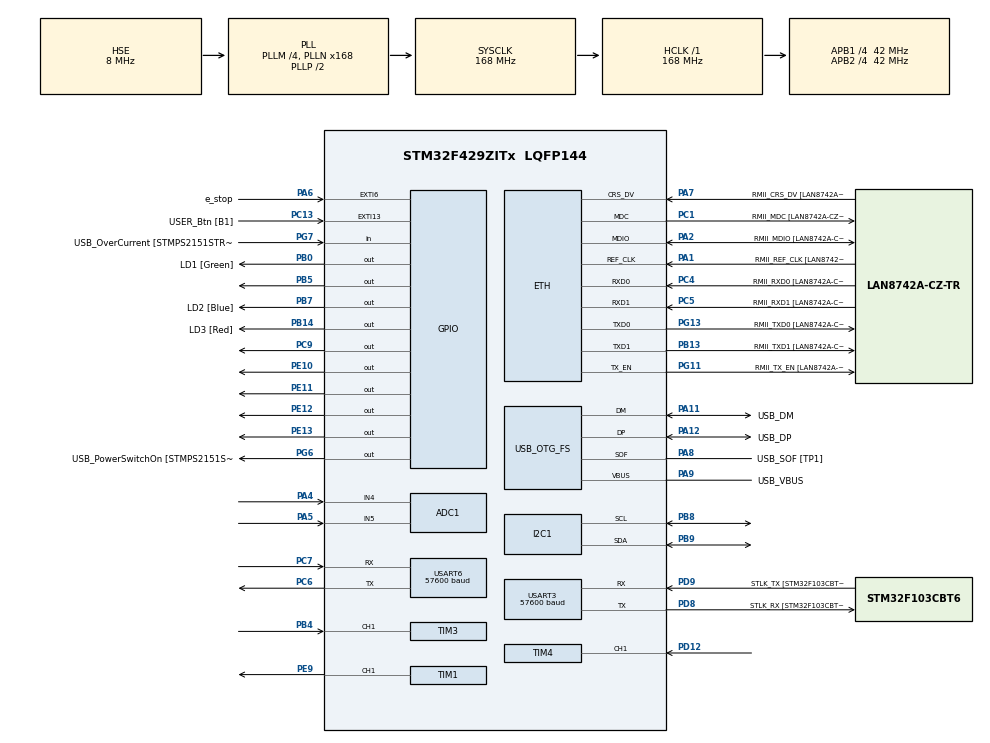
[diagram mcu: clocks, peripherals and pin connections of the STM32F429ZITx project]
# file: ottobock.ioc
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ADC1.Channel-0\#ChannelRegularConversion=ADC_CHANNEL_4
ADC1.Channel-3\#ChannelRegularConversion=ADC_CHANNEL_5
ADC1.ContinuousConvMode=ENABLE
ADC1.DMAContinuousRequests=ENABLE
ADC1.NbrOfConversion=2
ADC1.NbrOfConversionFlag=1
ADC1.Rank-0\#ChannelRegularConversion=1
ADC1.Rank-3\#ChannelRegularConversion=2
ADC1.SamplingTime-0\#ChannelRegularConversion=ADC_SAMPLETIME_84CYCLES
ADC1.SamplingTime-3\#ChannelRegularConversion=ADC_SAMPLETIME_84CYCLES
ADC1.ScanConvMode=ENABLE
ADC1.master=1
Dma.ADC1.2.Direction=DMA_PERIPH_TO_MEMORY
Dma.ADC1.2.FIFOMode=DMA_FIFOMODE_DISABLE
Dma.ADC1.2.Instance=DMA2_Stream4
Dma.ADC1.2.MemDataAlignment=DMA_MDATAALIGN_WORD
Dma.ADC1.2.MemInc=DMA_MINC_ENABLE
Dma.ADC1.2.Mode=DMA_CIRCULAR
Dma.ADC1.2.PeriphDataAlignment=DMA_PDATAALIGN_WORD
Dma.ADC1.2.PeriphInc=DMA_PINC_DISABLE
Dma.ADC1.2.Priority=DMA_PRIORITY_LOW
Dma.Request0=USART6_RX
Dma.Request1=USART6_TX
Dma.Request2=ADC1
Dma.Request3=TIM1_CH1
Dma.TIM1_CH1.3.Direction=DMA_MEMORY_TO_PERIPH
Dma.TIM1_CH1.3.FIFOMode=DMA_FIFOMODE_DISABLE
Dma.TIM1_CH1.3.Instance=DMA2_Stream3
Dma.TIM1_CH1.3.MemDataAlignment=DMA_MDATAALIGN_HALFWORD
Dma.TIM1_CH1.3.MemInc=DMA_MINC_ENABLE
Dma.TIM1_CH1.3.Mode=DMA_CIRCULAR
Dma.TIM1_CH1.3.PeriphDataAlignment=DMA_PDATAALIGN_HALFWORD
Dma.TIM1_CH1.3.PeriphInc=DMA_PINC_DISABLE
Dma.TIM1_CH1.3.Priority=DMA_PRIORITY_HIGH
Dma.USART6_RX.0.Direction=DMA_PERIPH_TO_MEMORY
Dma.USART6_RX.0.FIFOMode=DMA_FIFOMODE_DISABLE
Dma.USART6_RX.0.Instance=DMA2_Stream1
Dma.USART6_RX.0.MemDataAlignment=DMA_MDATAALIGN_BYTE
Dma.USART6_RX.0.MemInc=DMA_MINC_ENABLE
Dma.USART6_RX.0.Mode=DMA_CIRCULAR
Dma.USART6_RX.0.PeriphDataAlignment=DMA_PDATAALIGN_BYTE
Dma.USART6_RX.0.PeriphInc=DMA_PINC_DISABLE
Dma.USART6_RX.0.Priority=DMA_PRIORITY_LOW
Dma.USART6_TX.1.Direction=DMA_MEMORY_TO_PERIPH
Dma.USART6_TX.1.FIFOMode=DMA_FIFOMODE_DISABLE
Dma.USART6_TX.1.Instance=DMA2_Stream6
Dma.USART6_TX.1.MemDataAlignment=DMA_MDATAALIGN_BYTE
Dma.USART6_TX.1.MemInc=DMA_MINC_ENABLE
Dma.USART6_TX.1.Mode=DMA_NORMAL
Dma.USART6_TX.1.PeriphDataAlignment=DMA_PDATAALIGN_BYTE
Dma.USART6_TX.1.PeriphInc=DMA_PINC_DISABLE
Dma.USART6_TX.1.Priority=DMA_PRIORITY_LOW
ETH.MediaInterface=HAL_ETH_RMII_MODE
ETH.PHY_Name=LAN8742A_PHY_ADDRESS
ETH.PHY_Value=0
ETH.PhyAddress=0
I2C1.I2C_Mode=I2C_Fast
Mcu.Family=STM32F4
Mcu.Name=STM32F429ZITx
Mcu.Package=LQFP144
NVIC.DMA2_Stream1_IRQn=true\:0\:0\:false\:false\:true\:false\:true\:true
NVIC.DMA2_Stream3_IRQn=true\:0\:0\:false\:false\:true\:false\:true\:true
NVIC.DMA2_Stream4_IRQn=true\:0\:0\:false\:false\:true\:false\:true\:true
NVIC.DMA2_Stream6_IRQn=true\:0\:0\:false\:false\:true\:false\:true\:true
NVIC.EXTI9_5_IRQn=true\:0\:0\:false\:false\:true\:true\:true\:true
NVIC.PriorityGroup=NVIC_PRIORITYGROUP_4
NVIC.TIM3_IRQn=true\:0\:0\:false\:false\:true\:true\:true\:true
NVIC.TIM4_IRQn=true\:0\:0\:false\:false\:true\:true\:true\:true
NVIC.USART6_IRQn=true\:0\:0\:false\:false\:true\:true\:true\:true
PA1.GPIO_Label=RMII_REF_CLK [LAN8742A-CZ-TR_REFCLK0]
PA1.Mode=RMII
PA1.Signal=ETH_REF_CLK
PA10.GPIO_Label=USB_ID
PA10.Signal=USB_OTG_FS_ID
PA11.GPIO_Label=USB_DM
PA11.Mode=Device_Only
PA11.Signal=USB_OTG_FS_DM
PA12.GPIO_Label=USB_DP
PA12.Mode=Device_Only
PA12.Signal=USB_OTG_FS_DP
PA13.GPIO_Label=TMS
PA13.Mode=Serial_Wire
PA13.Signal=SYS_JTMS-SWDIO
PA14.GPIO_Label=TCK
PA14.Mode=Serial_Wire
PA14.Signal=SYS_JTCK-SWCLK
PA2.GPIO_Label=RMII_MDIO [LAN8742A-CZ-TR_MDIO]
PA2.Mode=RMII
PA2.Signal=ETH_MDIO
PA4.Signal=ADCx_IN4
PA5.Signal=ADCx_IN5
PA6.GPIO_Label=e_stop
PA6.GPIO_PuPd=GPIO_PULLDOWN
PA6.Signal=GPXTI6
PA7.GPIO_Label=RMII_CRS_DV [LAN8742A-CZ-TR_CRS_DV]
PA7.Mode=RMII
PA7.Signal=ETH_CRS_DV
PA8.GPIO_Label=USB_SOF [TP1]
PA8.Mode=Activate_SOF_FS
PA8.Signal=USB_OTG_FS_SOF
PA9.GPIO_Label=USB_VBUS
PA9.Mode=Activate_VBUS
PA9.Signal=USB_OTG_FS_VBUS
PB0.GPIO_Label=LD1 [Green]
PB0.Signal=GPIO_Output
PB13.GPIO_Label=RMII_TXD1 [LAN8742A-CZ-TR_TXD1]
PB13.Mode=RMII
PB13.Signal=ETH_TXD1
PB14.GPIO_Label=LD3 [Red]
PB14.Signal=GPIO_Output
PB4.Signal=S_TIM3_CH1
PB5.Signal=GPIO_Output
PB7.GPIO_Label=LD2 [Blue]
PB7.Signal=GPIO_Output
PB8.GPIO_Pu=GPIO_NOPULL
PB8.Mode=I2C
PB8.Signal=I2C1_SCL
PB9.GPIO_Pu=GPIO_NOPULL
PB9.Mode=I2C
PB9.Signal=I2C1_SDA
PC1.GPIO_Label=RMII_MDC [LAN8742A-CZ-TR_MDC]
PC1.Mode=RMII
PC1.Signal=ETH_MDC
PC13.GPIO_Label=USER_Btn [B1]
PC13.Signal=GPXTI13
PC14/OSC32_IN.Mode=LSE-External-Oscillator
PC14/OSC32_IN.Signal=RCC_OSC32_IN
PC15/OSC32_OUT.Mode=LSE-External-Oscillator
PC15/OSC32_OUT.Signal=RCC_OSC32_OUT
PC4.GPIO_Label=RMII_RXD0 [LAN8742A-CZ-TR_RXD0]
PC4.Mode=RMII
PC4.Signal=ETH_RXD0
PC5.GPIO_Label=RMII_RXD1 [LAN8742A-CZ-TR_RXD1]
PC5.Mode=RMII
PC5.Signal=ETH_RXD1
PC6.Mode=Asynchronous
PC6.Signal=USART6_TX
PC7.Mode=Asynchronous
PC7.Signal=USART6_RX
PC9.Signal=GPIO_Output
PD12.Signal=S_TIM4_CH1
PD8.GPIO_Label=STLK_RX [STM32F103CBT6_PA3]
PD8.Mode=Asynchronous
PD8.Signal=USART3_TX
PD9.GPIO_Label=STLK_TX [STM32F103CBT6_PA2]
PD9.Mode=Asynchronous
PD9.Signal=USART3_RX
PE10.Signal=GPIO_Output
PE11.Signal=GPIO_Output
PE12.Signal=GPIO_Output
PE13.Signal=GPIO_Output
PE9.Signal=S_TIM1_CH1
PG11.GPIO_Label=RMII_TX_EN [LAN8742A-CZ-TR_TXEN]
PG11.Mode=RMII
PG11.Signal=ETH_TX_EN
PG13.GPIO_Label=RMII_TXD0 [LAN8742A-CZ-TR_TXD0]
PG13.Mode=RMII
PG13.Signal=ETH_TXD0
PG6.GPIO_Label=USB_PowerSwitchOn [STMPS2151STR_EN]
PG6.Signal=GPIO_Output
PG7.GPIO_Label=USB_OverCurrent [STMPS2151STR_FAULT]
PG7.Signal=GPIO_Input
PH0/OSC_IN.GPIO_Label=MCO [STM32F103CBT6_PA8]
PH0/OSC_IN.Mode=HSE-External-Clock-Source
PH0/OSC_IN.Signal=RCC_OSC_IN
PH1/OSC_OUT.Mode=HSE-External-Clock-Source
PH1/OSC_OUT.Signal=RCC_OSC_OUT
ProjectManager.HeapSize=0x200
ProjectManager.StackSize=0x400
ProjectManager.TargetToolchain=STM32CubeIDE
RCC.48MHZClocksFreq_Value=48000000
RCC.AHBFreq_Value=168000000
RCC.APB1CLKDivider=RCC_HCLK_DIV4
RCC.APB1Freq_Value=42000000
RCC.APB1TimFreq_Value=84000000
RCC.APB2CLKDivider=RCC_HCLK_DIV4
RCC.APB2Freq_Value=42000000
RCC.APB2TimFreq_Value=84000000
RCC.CortexFreq_Value=168000000
RCC.HCLKFreq_Value=168000000
RCC.HSE_VALUE=8000000
RCC.HSI_VALUE=16000000
RCC.PLLM=4
RCC.PLLMUL=RCC_PLL_MUL9
RCC.PLLN=168
RCC.PLLQ=7
RCC.PRESCALERUSB=RCC_USBCLKSOURCE_PLL_DIV1_5
RCC.SYSCLKFreq_VALUE=168000000
RCC.SYSCLKSource=RCC_SYSCLKSOURCE_PLLCLK
RCC.SYSCLKSourceVirtual=RCC_SYSCLKSOURCE_PLLCLK
RCC.USBFreq_Value=48000000
RCC.VCOOutputFreq_Value=336000000
SH.ADCx_IN4.0=ADC1_IN4,IN4
SH.ADCx_IN5.0=ADC1_IN5,IN5
SH.S_TIM1_CH1.0=TIM1_CH1,PWM Generation1 CH1
SH.S_TIM3_CH1.0=TIM3_CH1,Input_Capture1_from_TI1
SH.S_TIM4_CH1.0=TIM4_CH1,Input_Capture1_from_TI1
TIM1.Channel-PWM\ Generation1\ CH1=TIM_CHANNEL_1
TIM1.Period=106-1
TIM3.Channel-Input_Capture1_from_TI1=TIM_CHANNEL_1
TIM3.Prescaler=84-1
TIM4.Channel-Input_Capture1_from_TI1=TIM_CHANNEL_1
TIM4.Prescaler=84-1
USART3.BaudRate=57600
USART3.VirtualMode=VM_ASYNC
USART6.BaudRate=57600
USART6.VirtualMode=VM_ASYNC
USB_OTG_FS.VirtualMode=Device_Only
VP_TIM3_VS_ClockSourceINT.Mode=Internal
VP_TIM4_VS_ClockSourceINT.Mode=Internal
board=NUCLEO-F429ZI

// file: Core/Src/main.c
/* USER CODE BEGIN Header */
/**
  ******************************************************************************
  * @file           : main.c
  * @brief          : Main program body
  ******************************************************************************
  * @attention
  *
  * Copyright (c) 2022 STMicroelectronics.
  * All rights reserved.
  *
  * This software is licensed under terms that can be found in the LICENSE file
  * in the root directory of this software component.
  * If no LICENSE file comes with this software, it is provided AS-IS.
  *
  ******************************************************************************
  */
/* USER CODE END Header */
#include "main.h"
#include "string.h"
#include <stdbool.h>
/* USER CODE BEGIN Includes */
#include "mainpp.h"
#include "ws2812.h"
/* USER CODE END Includes */

/* USER CODE BEGIN PD */

#define NUMBERLEDS 30
#define ARRAYNUM 3

/* USER CODE END PD */

ETH_TxPacketConfig TxConfig;
ETH_DMADescTypeDef  DMARxDscrTab[ETH_RX_DESC_CNT]; /* Ethernet Rx DMA Descriptors */
ETH_DMADescTypeDef  DMATxDscrTab[ETH_TX_DESC_CNT]; /* Ethernet Tx DMA Descriptors */

ADC_HandleTypeDef hadc1;
DMA_HandleTypeDef hdma_adc1;

ETH_HandleTypeDef heth;

I2C_HandleTypeDef hi2c1;

TIM_HandleTypeDef htim1;
TIM_HandleTypeDef htim3;
TIM_HandleTypeDef htim4;
DMA_HandleTypeDef hdma_tim1_ch1;

UART_HandleTypeDef huart3;
UART_HandleTypeDef huart6;
DMA_HandleTypeDef hdma_usart6_rx;
DMA_HandleTypeDef hdma_usart6_tx;

PCD_HandleTypeDef hpcd_USB_OTG_FS;

/* USER CODE BEGIN PV */
const bool USE_SONAR = false;
uint32_t XY[2];
double IC_Val1_c1 = 0.0;
double IC_Val2_c1 = 0.0;
double Difference_c1 = 0.0;
uint8_t Is_First_Captured_c1 = 0;  // is the first value captured ?
double Distance_c1  = 0.0;

double IC_Val1_c3 = 0.0;
double IC_Val2_c3 = 0.0;
double Difference_c3 = 0.0;
uint8_t Is_First_Captured_c3 = 0;  // is the first value captured ?
double Distance_c3  = 0.0;

uint8_t nums_bit=0;
color database[NUMBERLEDS];

/* USER CODE END PV */

void SystemClock_Config(void);
static void MX_GPIO_Init(void);
static void MX_DMA_Init(void);
static void MX_ETH_Init(void);
static void MX_USART3_UART_Init(void);
static void MX_USB_OTG_FS_PCD_Init(void);
static void MX_USART6_UART_Init(void);
static void MX_ADC1_Init(void);
static void MX_I2C1_Init(void);
static void MX_TIM3_Init(void);
static void MX_TIM4_Init(void);
static void MX_TIM1_Init(void);
/* USER CODE BEGIN PFP */

void HAL_TIM_IC_CaptureCallback(TIM_HandleTypeDef *htim)
{

	if (htim->Instance == TIM3)  // if the interrupt source is channel1
	{
		if (Is_First_Captured_c1==0) // if the first value is not captured
		{
			IC_Val1_c1 = HAL_TIM_ReadCapturedValue(htim, TIM_CHANNEL_1); // read the first value
			Is_First_Captured_c1 = 1;  // set the first captured as true
			// Now change the polarity to falling edge
			__HAL_TIM_SET_CAPTUREPOLARITY(htim, TIM_CHANNEL_1, TIM_INPUTCHANNELPOLARITY_FALLING);
		}

		else if (Is_First_Captured_c1==1)   // if the first is already captured
		{
			IC_Val2_c1 = HAL_TIM_ReadCapturedValue(htim, TIM_CHANNEL_1);  // read second value
			__HAL_TIM_SET_COUNTER(htim, 0);  // reset the counter

			if (IC_Val2_c1 > IC_Val1_c1)
			{
				Difference_c1 = IC_Val2_c1-IC_Val1_c1;
			}

			else if (IC_Val1_c1 > IC_Val2_c1)
			{
				Difference_c1 = (0xffff - IC_Val1_c1) + IC_Val2_c1;
			}

			Distance_c1 = Difference_c1 * .034/2;
			if (Distance_c1 <= 3.0) Distance_c1 = 0.0;
			Is_First_Captured_c1 = 0; // set it back to false

			// set polarity to rising edge
			__HAL_TIM_SET_CAPTUREPOLARITY(htim, TIM_CHANNEL_1, TIM_INPUTCHANNELPOLARITY_RISING);
			__HAL_TIM_DISABLE_IT(&htim3, TIM_IT_CC1);
		}
	}

	if (htim->Instance == TIM4)  // if the interrupt source is channel1
	{
		if (Is_First_Captured_c3==0) // if the first value is not captured
		{
			IC_Val1_c3 = HAL_TIM_ReadCapturedValue(htim, TIM_CHANNEL_1); // read the first value
			Is_First_Captured_c3 = 1;  // set the first captured as true
			// Now change the polarity to falling edge
			__HAL_TIM_SET_CAPTUREPOLARITY(htim, TIM_CHANNEL_1, TIM_INPUTCHANNELPOLARITY_FALLING);
		}

		else if (Is_First_Captured_c3==1)   // if the first is already captured
		{
			IC_Val2_c3 = HAL_TIM_ReadCapturedValue(htim, TIM_CHANNEL_1);  // read second value
			__HAL_TIM_SET_COUNTER(htim, 0);  // reset the counter

			if (IC_Val2_c3 > IC_Val1_c3)
			{
				Difference_c3 = IC_Val2_c3-IC_Val1_c3;
			}

			else if (IC_Val1_c3 > IC_Val2_c3)
			{
				Difference_c3 = (0xffff - IC_Val1_c3) + IC_Val2_c3;
			}

			Distance_c3 = Difference_c3 * .034/2;
			if (Distance_c3 <= 3.0) Distance_c3 = 0.0;
			Is_First_Captured_c3 = 0; // set it back to false

			// set polarity to rising edge
			__HAL_TIM_SET_CAPTUREPOLARITY(htim, TIM_CHANNEL_1, TIM_INPUTCHANNELPOLARITY_RISING);
			__HAL_TIM_DISABLE_IT(&htim4, TIM_IT_CC1);
		}
	}
}

/* USER CODE END PFP */

/* USER CODE BEGIN 0 */

void delay_r (uint16_t time)
{
	__HAL_TIM_SET_COUNTER(&htim3, 0);
	while (__HAL_TIM_GET_COUNTER (&htim3) < time);
}

void delay_l (uint16_t time)
{
	__HAL_TIM_SET_COUNTER(&htim4, 0);
	while (__HAL_TIM_GET_COUNTER (&htim4) < time);
}

void HCSR04_Read_r (void)
{
	HAL_GPIO_WritePin(GPIOC, GPIO_PIN_9, GPIO_PIN_SET);
	delay_r(10);  // wait for 10 us
	HAL_GPIO_WritePin(GPIOC, GPIO_PIN_9, GPIO_PIN_RESET);
	__HAL_TIM_ENABLE_IT(&htim3, TIM_IT_CC1);
}

void HCSR04_Read_l (void)
{

	HAL_GPIO_WritePin(GPIOB, GPIO_PIN_5, GPIO_PIN_SET);  // pull the TRIG pin HIGH
	delay_l(10);
	HAL_GPIO_WritePin(GPIOB, GPIO_PIN_5, GPIO_PIN_RESET);  // pull the TRIG pin low
	__HAL_TIM_ENABLE_IT(&htim4, TIM_IT_CC1);
}

double kalman(double U){
  static const double R = 0.01;
  static const double H = 1.0;
  static double Q = 0.8;
  static double P = 0;
  static double U_hat = 0;
  static double K = 0;
  K = P*H/(H*P*H+R);
  U_hat += + K*(U-H*U_hat);
  P = (1-K*H)*P+Q;
  return U_hat;
}

double complementary_r(double input_dist) {
	static double readings_c[ARRAYNUM];      // the readings from the analog input
	static int idx = 0;              // the index of the current reading
	static double total_c = 0.0;                  // the running total

	// subtract the last reading:
	total_c = total_c - readings_c[idx];
	// read from the sensor:
	readings_c[idx] = input_dist;
	// add the reading to the total:
	total_c = total_c + readings_c[idx];
	// advance to the next position in the array:
	idx = idx + 1;

	// if we're at the end of the array...
	if (idx >= ARRAYNUM) {
	 // ...wrap around to the beginning:
	 idx = 0;
	}
	// calculate the average:
	return total_c / ARRAYNUM;
}

double complementary_l(double input_dist) {
	static double readings_c[ARRAYNUM];      // the readings from the analog input
	static int idx = 0;              // the index of the current reading
	static double total_c = 0.0;                  // the running total

	// subtract the last reading:
	total_c = total_c - readings_c[idx];
	// read from the sensor:
	readings_c[idx] = input_dist;
	// add the reading to the total:
	total_c = total_c + readings_c[idx];
	// advance to the next position in the array:
	idx = idx + 1;

	// if we're at the end of the array...
	if (idx >= ARRAYNUM) {
	 // ...wrap around to the beginning:
	 idx = 0;
	}
	// calculate the average:
	return total_c / ARRAYNUM;
}

/* USER CODE END 0 */

int main(void)
{

  /* MCU Configuration--------------------------------------------------------*/

  /* Reset of all peripherals, Initializes the Flash interface and the Systick. */
  HAL_Init();

  /* Configure the system clock */
  SystemClock_Config();

  /* Initialize all configured peripherals */
  MX_GPIO_Init();
  MX_DMA_Init();
  MX_ETH_Init();
  MX_USART3_UART_Init();
  MX_USB_OTG_FS_PCD_Init();
  MX_USART6_UART_Init();
  MX_ADC1_Init();
  MX_I2C1_Init();
  MX_TIM3_Init();
  MX_TIM4_Init();
  MX_TIM1_Init();
  /* USER CODE BEGIN 2 */
  HAL_TIM_IC_Start_IT(&htim3, TIM_CHANNEL_1);
  HAL_TIM_IC_Start_IT(&htim4, TIM_CHANNEL_1);

  HAL_ADC_Start_DMA(&hadc1, XY, 2);
  uint32_t start_tick = HAL_GetTick();
  init_neopixel(WS2812);
  all_black_render();
  setup();

  /* USER CODE END 2 */

  /* Infinite loop */
  /* USER CODE BEGIN WHILE */
  while (1)
  {
	  double r_sonar = 0.0;
	  double l_sonar = 0.0;
	  if (USE_SONAR) {
		  if(HAL_GetTick() - start_tick >= 100) {
			  HCSR04_Read_r();
			  HCSR04_Read_l();

//		  // subtract the last reading:
//		  total_c1 = total_c1 - readings_c1[idx];
//		  total_c3 = total_c3 - readings_c3[idx];
//		  // read from the sensor:
//		  readings_c1[idx] = Distance_c1;
//		  readings_c3[idx] = Distance_c3;
//		  // add the reading to the total:
//		  total_c1 = total_c1 + readings_c1[idx];
//		  total_c3 = total_c3 + readings_c3[idx];
//		  // advance to the next position in the array:
//		  idx = idx + 1;
//
//		  // if we're at the end of the array...
//		  if (idx >= ARRAYNUM) {
//			  // ...wrap around to the beginning:
//			  idx = 0;
//		  }
//		  // calculate the average:
//		  average_c1 = total_c1 / ARRAYNUM;
//		  average_c3 = total_c3 / ARRAYNUM;

		  // for Kalmanfilter
//		  kaldist_c1 = kalman(Distance_c1);
//		  kaldist_c3 = kalman(Distance_c3);

		  	  r_sonar = complementary_r(Distance_c1);
		  	  l_sonar = complementary_l(Distance_c3);

		  	  start_tick = HAL_GetTick();
	  	  }
	  }

	  // send it to the computer as ASCII digits
	  //render_raising_mode(215,125,123,5);
	  uint8_t led_mode = loop(XY[0], XY[1], r_sonar, l_sonar);

	  if(mode==HALT)
	  {
		  if (led_mode == 0) render_breath_mode(0, 254, 50, 3); //RGB
		  else if (led_mode == 1) render_breath_mode(254,0,0,0); //RGB
		  else if (led_mode == 2) render_breath_mode(0,0,254,1); //RGB

		  //one_color_render(0, 255, 0); // B R G
		  //render_falling_mode(128, 255, 0, 1);
		  //render_rainbow_cycle_mode(5);
	  }
    /* USER CODE END WHILE */

  }
}

void SystemClock_Config(void)
{
  RCC_OscInitTypeDef RCC_OscInitStruct = {0};
  RCC_ClkInitTypeDef RCC_ClkInitStruct = {0};

  /** Configure the main internal regulator output voltage
  */
  __HAL_RCC_PWR_CLK_ENABLE();
  __HAL_PWR_VOLTAGESCALING_CONFIG(PWR_REGULATOR_VOLTAGE_SCALE1);

  /** Initializes the RCC Oscillators according to the specified parameters
  * in the RCC_OscInitTypeDef structure.
  */
  RCC_OscInitStruct.OscillatorType = RCC_OSCILLATORTYPE_HSE;
  RCC_OscInitStruct.HSEState = RCC_HSE_BYPASS;
  RCC_OscInitStruct.PLL.PLLState = RCC_PLL_ON;
  RCC_OscInitStruct.PLL.PLLSource = RCC_PLLSOURCE_HSE;
  RCC_OscInitStruct.PLL.PLLM = 4;
  RCC_OscInitStruct.PLL.PLLN = 168;
  RCC_OscInitStruct.PLL.PLLP = RCC_PLLP_DIV2;
  RCC_OscInitStruct.PLL.PLLQ = 7;
  if (HAL_RCC_OscConfig(&RCC_OscInitStruct) != HAL_OK)
  {
    Error_Handler();
  }

  /** Initializes the CPU, AHB and APB buses clocks
  */
  RCC_ClkInitStruct.ClockType = RCC_CLOCKTYPE_HCLK|RCC_CLOCKTYPE_SYSCLK
                              |RCC_CLOCKTYPE_PCLK1|RCC_CLOCKTYPE_PCLK2;
  RCC_ClkInitStruct.SYSCLKSource = RCC_SYSCLKSOURCE_PLLCLK;
  RCC_ClkInitStruct.AHBCLKDivider = RCC_SYSCLK_DIV1;
  RCC_ClkInitStruct.APB1CLKDivider = RCC_HCLK_DIV4;
  RCC_ClkInitStruct.APB2CLKDivider = RCC_HCLK_DIV4;

  if (HAL_RCC_ClockConfig(&RCC_ClkInitStruct, FLASH_LATENCY_5) != HAL_OK)
  {
    Error_Handler();
  }
}

static void MX_ADC1_Init(void)
{

  ADC_ChannelConfTypeDef sConfig = {0};

  /** Configure the global features of the ADC (Clock, Resolution, Data Alignment and number of conversion)
  */
  hadc1.Instance = ADC1;
  hadc1.Init.ClockPrescaler = ADC_CLOCK_SYNC_PCLK_DIV2;
  hadc1.Init.Resolution = ADC_RESOLUTION_12B;
  hadc1.Init.ScanConvMode = ENABLE;
  hadc1.Init.ContinuousConvMode = ENABLE;
  hadc1.Init.DiscontinuousConvMode = DISABLE;
  hadc1.Init.ExternalTrigConvEdge = ADC_EXTERNALTRIGCONVEDGE_NONE;
  hadc1.Init.ExternalTrigConv = ADC_SOFTWARE_START;
  hadc1.Init.DataAlign = ADC_DATAALIGN_RIGHT;
  hadc1.Init.NbrOfConversion = 2;
  hadc1.Init.DMAContinuousRequests = ENABLE;
  hadc1.Init.EOCSelection = ADC_EOC_SINGLE_CONV;
  if (HAL_ADC_Init(&hadc1) != HAL_OK)
  {
    Error_Handler();
  }

  /** Configure for the selected ADC regular channel its corresponding rank in the sequencer and its sample time.
  */
  sConfig.Channel = ADC_CHANNEL_4;
  sConfig.Rank = 1;
  sConfig.SamplingTime = ADC_SAMPLETIME_84CYCLES;
  if (HAL_ADC_ConfigChannel(&hadc1, &sConfig) != HAL_OK)
  {
    Error_Handler();
  }

  /** Configure for the selected ADC regular channel its corresponding rank in the sequencer and its sample time.
  */
  sConfig.Channel = ADC_CHANNEL_5;
  sConfig.Rank = 2;
  if (HAL_ADC_ConfigChannel(&hadc1, &sConfig) != HAL_OK)
  {
    Error_Handler();
  }

}

static void MX_ETH_Init(void)
{

   static uint8_t MACAddr[6];

  heth.Instance = ETH;
  MACAddr[0] = 0x00;
  MACAddr[1] = 0x80;
  MACAddr[2] = 0xE1;
  MACAddr[3] = 0x00;
  MACAddr[4] = 0x00;
  MACAddr[5] = 0x00;
  heth.Init.MACAddr = &MACAddr[0];
  heth.Init.MediaInterface = HAL_ETH_RMII_MODE;
  heth.Init.TxDesc = DMATxDscrTab;
  heth.Init.RxDesc = DMARxDscrTab;
  heth.Init.RxBuffLen = 1524;

  if (HAL_ETH_Init(&heth) != HAL_OK)
  {
    Error_Handler();
  }

  memset(&TxConfig, 0 , sizeof(ETH_TxPacketConfig));
  TxConfig.Attributes = ETH_TX_PACKETS_FEATURES_CSUM | ETH_TX_PACKETS_FEATURES_CRCPAD;
  TxConfig.ChecksumCtrl = ETH_CHECKSUM_IPHDR_PAYLOAD_INSERT_PHDR_CALC;
  TxConfig.CRCPadCtrl = ETH_CRC_PAD_INSERT;

}

static void MX_I2C1_Init(void)
{

  hi2c1.Instance = I2C1;
  hi2c1.Init.ClockSpeed = 400000;
  hi2c1.Init.DutyCycle = I2C_DUTYCYCLE_2;
  hi2c1.Init.OwnAddress1 = 0;
  hi2c1.Init.AddressingMode = I2C_ADDRESSINGMODE_7BIT;
  hi2c1.Init.DualAddressMode = I2C_DUALADDRESS_DISABLE;
  hi2c1.Init.OwnAddress2 = 0;
  hi2c1.Init.GeneralCallMode = I2C_GENERALCALL_DISABLE;
  hi2c1.Init.NoStretchMode = I2C_NOSTRETCH_DISABLE;
  if (HAL_I2C_Init(&hi2c1) != HAL_OK)
  {
    Error_Handler();
  }

  /** Configure Analogue filter
  */
  if (HAL_I2CEx_ConfigAnalogFilter(&hi2c1, I2C_ANALOGFILTER_ENABLE) != HAL_OK)
  {
    Error_Handler();
  }

  /** Configure Digital filter
  */
  if (HAL_I2CEx_ConfigDigitalFilter(&hi2c1, 0) != HAL_OK)
  {
    Error_Handler();
  }

}

static void MX_TIM1_Init(void)
{

  TIM_MasterConfigTypeDef sMasterConfig = {0};
  TIM_OC_InitTypeDef sConfigOC = {0};
  TIM_BreakDeadTimeConfigTypeDef sBreakDeadTimeConfig = {0};

  htim1.Instance = TIM1;
  htim1.Init.Prescaler = 0;
  htim1.Init.CounterMode = TIM_COUNTERMODE_UP;
  htim1.Init.Period = 106-1;
  htim1.Init.ClockDivision = TIM_CLOCKDIVISION_DIV1;
  htim1.Init.RepetitionCounter = 0;
  htim1.Init.AutoReloadPreload = TIM_AUTORELOAD_PRELOAD_DISABLE;
  if (HAL_TIM_PWM_Init(&htim1) != HAL_OK)
  {
    Error_Handler();
  }
  sMasterConfig.MasterOutputTrigger = TIM_TRGO_RESET;
  sMasterConfig.MasterSlaveMode = TIM_MASTERSLAVEMODE_DISABLE;
  if (HAL_TIMEx_MasterConfigSynchronization(&htim1, &sMasterConfig) != HAL_OK)
  {
    Error_Handler();
  }
  sConfigOC.OCMode = TIM_OCMODE_PWM1;
  sConfigOC.Pulse = 0;
  sConfigOC.OCPolarity = TIM_OCPOLARITY_HIGH;
  sConfigOC.OCNPolarity = TIM_OCNPOLARITY_HIGH;
  sConfigOC.OCFastMode = TIM_OCFAST_DISABLE;
  sConfigOC.OCIdleState = TIM_OCIDLESTATE_RESET;
  sConfigOC.OCNIdleState = TIM_OCNIDLESTATE_RESET;
  if (HAL_TIM_PWM_ConfigChannel(&htim1, &sConfigOC, TIM_CHANNEL_1) != HAL_OK)
  {
    Error_Handler();
  }
  sBreakDeadTimeConfig.OffStateRunMode = TIM_OSSR_DISABLE;
  sBreakDeadTimeConfig.OffStateIDLEMode = TIM_OSSI_DISABLE;
  sBreakDeadTimeConfig.LockLevel = TIM_LOCKLEVEL_OFF;
  sBreakDeadTimeConfig.DeadTime = 0;
  sBreakDeadTimeConfig.BreakState = TIM_BREAK_DISABLE;
  sBreakDeadTimeConfig.BreakPolarity = TIM_BREAKPOLARITY_HIGH;
  sBreakDeadTimeConfig.AutomaticOutput = TIM_AUTOMATICOUTPUT_DISABLE;
  if (HAL_TIMEx_ConfigBreakDeadTime(&htim1, &sBreakDeadTimeConfig) != HAL_OK)
  {
    Error_Handler();
  }
  HAL_TIM_MspPostInit(&htim1);

}

static void MX_TIM3_Init(void)
{

  TIM_ClockConfigTypeDef sClockSourceConfig = {0};
  TIM_MasterConfigTypeDef sMasterConfig = {0};
  TIM_IC_InitTypeDef sConfigIC = {0};

  htim3.Instance = TIM3;
  htim3.Init.Prescaler = 84-1;
  htim3.Init.CounterMode = TIM_COUNTERMODE_UP;
  htim3.Init.Period = 65535;
  htim3.Init.ClockDivision = TIM_CLOCKDIVISION_DIV1;
  htim3.Init.AutoReloadPreload = TIM_AUTORELOAD_PRELOAD_DISABLE;
  if (HAL_TIM_Base_Init(&htim3) != HAL_OK)
  {
    Error_Handler();
  }
  sClockSourceConfig.ClockSource = TIM_CLOCKSOURCE_INTERNAL;
  if (HAL_TIM_ConfigClockSource(&htim3, &sClockSourceConfig) != HAL_OK)
  {
    Error_Handler();
  }
  if (HAL_TIM_IC_Init(&htim3) != HAL_OK)
  {
    Error_Handler();
  }
  sMasterConfig.MasterOutputTrigger = TIM_TRGO_RESET;
  sMasterConfig.MasterSlaveMode = TIM_MASTERSLAVEMODE_DISABLE;
  if (HAL_TIMEx_MasterConfigSynchronization(&htim3, &sMasterConfig) != HAL_OK)
  {
    Error_Handler();
  }
  sConfigIC.ICPolarity = TIM_INPUTCHANNELPOLARITY_RISING;
  sConfigIC.ICSelection = TIM_ICSELECTION_DIRECTTI;
  sConfigIC.ICPrescaler = TIM_ICPSC_DIV1;
  sConfigIC.ICFilter = 0;
  if (HAL_TIM_IC_ConfigChannel(&htim3, &sConfigIC, TIM_CHANNEL_1) != HAL_OK)
  {
    Error_Handler();
  }

}

static void MX_TIM4_Init(void)
{

  TIM_ClockConfigTypeDef sClockSourceConfig = {0};
  TIM_MasterConfigTypeDef sMasterConfig = {0};
  TIM_IC_InitTypeDef sConfigIC = {0};

  htim4.Instance = TIM4;
  htim4.Init.Prescaler = 84-1;
  htim4.Init.CounterMode = TIM_COUNTERMODE_UP;
  htim4.Init.Period = 65535;
  htim4.Init.ClockDivision = TIM_CLOCKDIVISION_DIV1;
  htim4.Init.AutoReloadPreload = TIM_AUTORELOAD_PRELOAD_DISABLE;
  if (HAL_TIM_Base_Init(&htim4) != HAL_OK)
  {
    Error_Handler();
  }
  sClockSourceConfig.ClockSource = TIM_CLOCKSOURCE_INTERNAL;
  if (HAL_TIM_ConfigClockSource(&htim4, &sClockSourceConfig) != HAL_OK)
  {
    Error_Handler();
  }
  if (HAL_TIM_IC_Init(&htim4) != HAL_OK)
  {
    Error_Handler();
  }
  sMasterConfig.MasterOutputTrigger = TIM_TRGO_RESET;
  sMasterConfig.MasterSlaveMode = TIM_MASTERSLAVEMODE_DISABLE;
  if (HAL_TIMEx_MasterConfigSynchronization(&htim4, &sMasterConfig) != HAL_OK)
  {
    Error_Handler();
  }
  sConfigIC.ICPolarity = TIM_INPUTCHANNELPOLARITY_RISING;
  sConfigIC.ICSelection = TIM_ICSELECTION_DIRECTTI;
  sConfigIC.ICPrescaler = TIM_ICPSC_DIV1;
  sConfigIC.ICFilter = 0;
  if (HAL_TIM_IC_ConfigChannel(&htim4, &sConfigIC, TIM_CHANNEL_1) != HAL_OK)
  {
    Error_Handler();
  }

}

static void MX_USART3_UART_Init(void)
{

  huart3.Instance = USART3;
  huart3.Init.BaudRate = 57600;
  huart3.Init.WordLength = UART_WORDLENGTH_8B;
  huart3.Init.StopBits = UART_STOPBITS_1;
  huart3.Init.Parity = UART_PARITY_NONE;
  huart3.Init.Mode = UART_MODE_TX_RX;
  huart3.Init.HwFlowCtl = UART_HWCONTROL_NONE;
  huart3.Init.OverSampling = UART_OVERSAMPLING_16;
  if (HAL_UART_Init(&huart3) != HAL_OK)
  {
    Error_Handler();
  }

}

static void MX_USART6_UART_Init(void)
{

  huart6.Instance = USART6;
  huart6.Init.BaudRate = 57600;
  huart6.Init.WordLength = UART_WORDLENGTH_8B;
  huart6.Init.StopBits = UART_STOPBITS_1;
  huart6.Init.Parity = UART_PARITY_NONE;
  huart6.Init.Mode = UART_MODE_TX_RX;
  huart6.Init.HwFlowCtl = UART_HWCONTROL_NONE;
  huart6.Init.OverSampling = UART_OVERSAMPLING_16;
  if (HAL_UART_Init(&huart6) != HAL_OK)
  {
    Error_Handler();
  }

}

static void MX_USB_OTG_FS_PCD_Init(void)
{

  hpcd_USB_OTG_FS.Instance = USB_OTG_FS;
  hpcd_USB_OTG_FS.Init.dev_endpoints = 4;
  hpcd_USB_OTG_FS.Init.speed = PCD_SPEED_FULL;
  hpcd_USB_OTG_FS.Init.dma_enable = DISABLE;
  hpcd_USB_OTG_FS.Init.phy_itface = PCD_PHY_EMBEDDED;
  hpcd_USB_OTG_FS.Init.Sof_enable = ENABLE;
  hpcd_USB_OTG_FS.Init.low_power_enable = DISABLE;
  hpcd_USB_OTG_FS.Init.lpm_enable = DISABLE;
  hpcd_USB_OTG_FS.Init.vbus_sensing_enable = ENABLE;
  hpcd_USB_OTG_FS.Init.use_dedicated_ep1 = DISABLE;
  if (HAL_PCD_Init(&hpcd_USB_OTG_FS) != HAL_OK)
  {
    Error_Handler();
  }

}

static void MX_DMA_Init(void)
{

  /* DMA controller clock enable */
  __HAL_RCC_DMA2_CLK_ENABLE();

  /* DMA interrupt init */
  /* DMA2_Stream1_IRQn interrupt configuration */
  HAL_NVIC_SetPriority(DMA2_Stream1_IRQn, 0, 0);
  HAL_NVIC_EnableIRQ(DMA2_Stream1_IRQn);
  /* DMA2_Stream3_IRQn interrupt configuration */
  HAL_NVIC_SetPriority(DMA2_Stream3_IRQn, 0, 0);
  HAL_NVIC_EnableIRQ(DMA2_Stream3_IRQn);
  /* DMA2_Stream4_IRQn interrupt configuration */
  HAL_NVIC_SetPriority(DMA2_Stream4_IRQn, 0, 0);
  HAL_NVIC_EnableIRQ(DMA2_Stream4_IRQn);
  /* DMA2_Stream6_IRQn interrupt configuration */
  HAL_NVIC_SetPriority(DMA2_Stream6_IRQn, 0, 0);
  HAL_NVIC_EnableIRQ(DMA2_Stream6_IRQn);

}

static void MX_GPIO_Init(void)
{
  GPIO_InitTypeDef GPIO_InitStruct = {0};

  /* GPIO Ports Clock Enable */
  __HAL_RCC_GPIOC_CLK_ENABLE();
  __HAL_RCC_GPIOH_CLK_ENABLE();
  __HAL_RCC_GPIOA_CLK_ENABLE();
  __HAL_RCC_GPIOB_CLK_ENABLE();
  __HAL_RCC_GPIOE_CLK_ENABLE();
  __HAL_RCC_GPIOD_CLK_ENABLE();
  __HAL_RCC_GPIOG_CLK_ENABLE();

  /*Configure GPIO pin Output Level */
  HAL_GPIO_WritePin(GPIOB, LD1_Pin|LD3_Pin|GPIO_PIN_5|LD2_Pin, GPIO_PIN_RESET);

  /*Configure GPIO pin Output Level */
  HAL_GPIO_WritePin(GPIOE, GPIO_PIN_10|GPIO_PIN_11|GPIO_PIN_12|GPIO_PIN_13, GPIO_PIN_RESET);

  /*Configure GPIO pin Output Level */
  HAL_GPIO_WritePin(USB_PowerSwitchOn_GPIO_Port, USB_PowerSwitchOn_Pin, GPIO_PIN_RESET);

  /*Configure GPIO pin Output Level */
  HAL_GPIO_WritePin(GPIOC, GPIO_PIN_9, GPIO_PIN_RESET);

  /*Configure GPIO pin : USER_Btn_Pin */
  GPIO_InitStruct.Pin = USER_Btn_Pin;
  GPIO_InitStruct.Mode = GPIO_MODE_IT_RISING;
  GPIO_InitStruct.Pull = GPIO_NOPULL;
  HAL_GPIO_Init(USER_Btn_GPIO_Port, &GPIO_InitStruct);

  /*Configure GPIO pin : e_stop_Pin */
  GPIO_InitStruct.Pin = e_stop_Pin;
  GPIO_InitStruct.Mode = GPIO_MODE_IT_RISING;
  GPIO_InitStruct.Pull = GPIO_PULLDOWN;
  HAL_GPIO_Init(e_stop_GPIO_Port, &GPIO_InitStruct);

  /*Configure GPIO pins : LD1_Pin LD3_Pin PB5 LD2_Pin */
  GPIO_InitStruct.Pin = LD1_Pin|LD3_Pin|GPIO_PIN_5|LD2_Pin;
  GPIO_InitStruct.Mode = GPIO_MODE_OUTPUT_PP;
  GPIO_InitStruct.Pull = GPIO_NOPULL;
  GPIO_InitStruct.Speed = GPIO_SPEED_FREQ_LOW;
  HAL_GPIO_Init(GPIOB, &GPIO_InitStruct);

  /*Configure GPIO pins : PE10 PE11 PE12 PE13 */
  GPIO_InitStruct.Pin = GPIO_PIN_10|GPIO_PIN_11|GPIO_PIN_12|GPIO_PIN_13;
  GPIO_InitStruct.Mode = GPIO_MODE_OUTPUT_PP;
  GPIO_InitStruct.Pull = GPIO_NOPULL;
  GPIO_InitStruct.Speed = GPIO_SPEED_FREQ_LOW;
  HAL_GPIO_Init(GPIOE, &GPIO_InitStruct);

  /*Configure GPIO pin : USB_PowerSwitchOn_Pin */
  GPIO_InitStruct.Pin = USB_PowerSwitchOn_Pin;
  GPIO_InitStruct.Mode = GPIO_MODE_OUTPUT_PP;
  GPIO_InitStruct.Pull = GPIO_NOPULL;
  GPIO_InitStruct.Speed = GPIO_SPEED_FREQ_LOW;
  HAL_GPIO_Init(USB_PowerSwitchOn_GPIO_Port, &GPIO_InitStruct);

  /*Configure GPIO pin : USB_OverCurrent_Pin */
  GPIO_InitStruct.Pin = USB_OverCurrent_Pin;
  GPIO_InitStruct.Mode = GPIO_MODE_INPUT;
  GPIO_InitStruct.Pull = GPIO_NOPULL;
  HAL_GPIO_Init(USB_OverCurrent_GPIO_Port, &GPIO_InitStruct);

  /*Configure GPIO pin : PC9 */
  GPIO_InitStruct.Pin = GPIO_PIN_9;
  GPIO_InitStruct.Mode = GPIO_MODE_OUTPUT_PP;
  GPIO_InitStruct.Pull = GPIO_NOPULL;
  GPIO_InitStruct.Speed = GPIO_SPEED_FREQ_LOW;
  HAL_GPIO_Init(GPIOC, &GPIO_InitStruct);

  /* EXTI interrupt init*/
  HAL_NVIC_SetPriority(EXTI9_5_IRQn, 0, 0);
  HAL_NVIC_EnableIRQ(EXTI9_5_IRQn);

}

void Error_Handler(void)
{
  __disable_irq();
  while (1)
  {
  }
}
